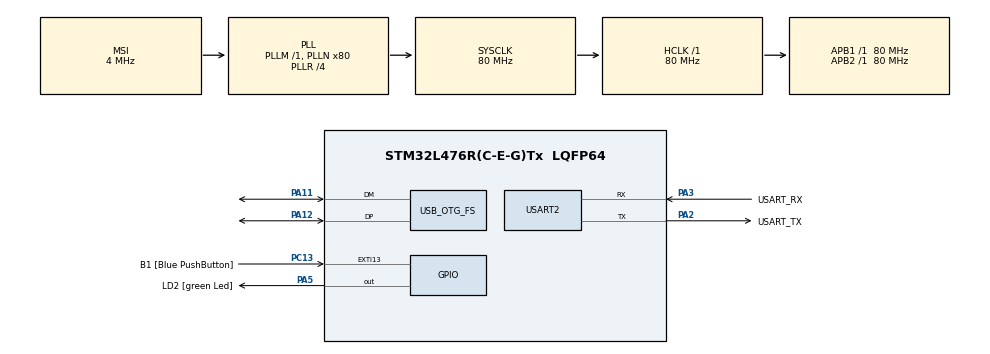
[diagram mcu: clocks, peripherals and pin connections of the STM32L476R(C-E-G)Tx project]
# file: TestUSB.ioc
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Mcu.Family=STM32L4
Mcu.Name=STM32L476R(C-E-G)Tx
Mcu.Package=LQFP64
NVIC.EXTI15_10_IRQn=true\:0\:0\:false\:false\:true\:true\:true\:true
NVIC.OTG_FS_IRQn=true\:0\:0\:false\:false\:true\:false\:true\:true
NVIC.PriorityGroup=NVIC_PRIORITYGROUP_4
PA11.Mode=Device_Only
PA11.Signal=USB_OTG_FS_DM
PA12.Mode=Device_Only
PA12.Signal=USB_OTG_FS_DP
PA13\ (JTMS-SWDIO).GPIO_Label=TMS
PA13\ (JTMS-SWDIO).Mode=Serial_Wire
PA13\ (JTMS-SWDIO).Signal=SYS_JTMS-SWDIO
PA14\ (JTCK-SWCLK).GPIO_Label=TCK
PA14\ (JTCK-SWCLK).Mode=Serial_Wire
PA14\ (JTCK-SWCLK).Signal=SYS_JTCK-SWCLK
PA2.GPIO_Label=USART_TX
PA2.GPIO_Mode=GPIO_MODE_AF_PP
PA2.GPIO_PuPd=GPIO_NOPULL
PA2.GPIO_Speed=GPIO_SPEED_FREQ_VERY_HIGH
PA2.Mode=Asynchronous
PA2.Signal=USART2_TX
PA3.GPIO_Label=USART_RX
PA3.GPIO_Mode=GPIO_MODE_AF_PP
PA3.GPIO_PuPd=GPIO_NOPULL
PA3.GPIO_Speed=GPIO_SPEED_FREQ_VERY_HIGH
PA3.Mode=Asynchronous
PA3.Signal=USART2_RX
PA5.GPIO_Label=LD2 [green Led]
PA5.GPIO_ModeDefaultOutputPP=GPIO_MODE_OUTPUT_PP
PA5.GPIO_PuPd=GPIO_NOPULL
PA5.GPIO_Speed=GPIO_SPEED_FREQ_LOW
PA5.Signal=GPIO_Output
PB3\ (JTDO-TRACESWO).GPIO_Label=SWO
PB3\ (JTDO-TRACESWO).Signal=SYS_JTDO-SWO
PC13.GPIO_Label=B1 [Blue PushButton]
PC13.GPIO_ModeDefaultEXTI=GPIO_MODE_IT_FALLING
PC13.GPIO_PuPd=GPIO_NOPULL
PC13.Signal=GPXTI13
PC14-OSC32_IN\ (PC14).Mode=LSE-External-Oscillator
PC14-OSC32_IN\ (PC14).Signal=RCC_OSC32_IN
PC15-OSC32_OUT\ (PC15).Mode=LSE-External-Oscillator
PC15-OSC32_OUT\ (PC15).Signal=RCC_OSC32_OUT
PH0-OSC_IN\ (PH0).Signal=RCC_OSC_IN
PH1-OSC_OUT\ (PH1).Signal=RCC_OSC_OUT
ProjectManager.HeapSize=0x200
ProjectManager.StackSize=0x400
ProjectManager.TargetToolchain=STM32CubeIDE
RCC.ADCFreq_Value=48000000
RCC.AHBFreq_Value=80000000
RCC.APB1Freq_Value=80000000
RCC.APB1TimFreq_Value=80000000
RCC.APB2Freq_Value=80000000
RCC.APB2TimFreq_Value=80000000
RCC.CortexFreq_Value=80000000
RCC.HCLKFreq_Value=80000000
RCC.HSE_VALUE=8000000
RCC.HSI_VALUE=16000000
RCC.MSI_VALUE=4000000
RCC.PLLN=80
RCC.PLLR=RCC_PLLR_DIV4
RCC.PLLSAI1N=24
RCC.PREFETCH_ENABLE=1
RCC.SYSCLKFreq_VALUE=80000000
RCC.SYSCLKSource=RCC_SYSCLKSOURCE_PLLCLK
RCC.USBFreq_Value=48000000
RCC.VCOOutputFreq_Value=320000000
USART2.VirtualMode-Asynchronous=VM_ASYNC
USB_DEVICE.CLASS_NAME_FS=CDC
USB_DEVICE.PRODUCT_STRING_CDC_FS=STM32 YourVitalSeeker
USB_DEVICE.VirtualMode=Cdc
USB_DEVICE.VirtualModeFS=Cdc_FS
USB_OTG_FS.VirtualMode=Device_Only
VP_USB_DEVICE_VS_USB_DEVICE_CDC_FS.Mode=CDC_FS
board=NUCLEO-L476RG

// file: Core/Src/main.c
/* USER CODE BEGIN Header */
/**
  ******************************************************************************
  * @file           : main.c
  * @brief          : Main program body
  ******************************************************************************
  * @attention
  *
  * Copyright (c) 2025 STMicroelectronics.
  * All rights reserved.
  *
  * This software is licensed under terms that can be found in the LICENSE file
  * in the root directory of this software component.
  * If no LICENSE file comes with this software, it is provided AS-IS.
  *
  ******************************************************************************
  */
/* USER CODE END Header */
#include "main.h"
#include "usb_device.h"

/* USER CODE BEGIN Includes */
#include "usbd_cdc_if.h"
#include "string.h"
#include "stdbool.h"
/* USER CODE END Includes */

UART_HandleTypeDef huart2;

void SystemClock_Config(void);
static void MX_GPIO_Init(void);
static void MX_USART2_UART_Init(void);

/* USER CODE BEGIN 0 */
uint8_t DataToSend[40]; // Tablica zawierajaca dane do wyslania
uint8_t MessageCounter = 0; // Licznik wyslanych wiadomosci
uint8_t MessageLength = 0; // Zawiera dlugosc wysylanej wiadomosci
bool 	ButtonPressed = false;
uint8_t LedState = 0;
char *data = "HELLO WORLD\n";
/* USER CODE END 0 */

int main(void)
{

  /* MCU Configuration--------------------------------------------------------*/

  /* Reset of all peripherals, Initializes the Flash interface and the Systick. */
  HAL_Init();

  /* Configure the system clock */
  SystemClock_Config();

  /* Initialize all configured peripherals */
  MX_GPIO_Init();
  MX_USART2_UART_Init();
  MX_USB_DEVICE_Init();

  /* Infinite loop */
  /* USER CODE BEGIN WHILE */
  while (1)
  {
	  CDC_Transmit_FS((uint8_t*) data, strlen(data));
	  HAL_Delay(1000);
	  if(ButtonPressed){
		  ButtonPressed = false;
		  ++MessageCounter;
		MessageLength = sprintf((char*) DataToSend, "Wiadomosc nr %d\n\r", MessageCounter);
		LedState = CDC_Transmit_FS(DataToSend, MessageLength);
		if (LedState == 1){
			HAL_GPIO_WritePin(LD2_GPIO_Port, LD2_Pin, GPIO_PIN_RESET);
		}
		else{
			HAL_GPIO_WritePin(LD2_GPIO_Port, LD2_Pin, GPIO_PIN_SET);
		}
	  }
    /* USER CODE END WHILE */

  }
}

void SystemClock_Config(void)
{
  RCC_OscInitTypeDef RCC_OscInitStruct = {0};
  RCC_ClkInitTypeDef RCC_ClkInitStruct = {0};

  /** Configure the main internal regulator output voltage
  */
  if (HAL_PWREx_ControlVoltageScaling(PWR_REGULATOR_VOLTAGE_SCALE1) != HAL_OK)
  {
    Error_Handler();
  }

  /** Configure LSE Drive Capability
  */
  HAL_PWR_EnableBkUpAccess();
  __HAL_RCC_LSEDRIVE_CONFIG(RCC_LSEDRIVE_LOW);

  /** Initializes the RCC Oscillators according to the specified parameters
  * in the RCC_OscInitTypeDef structure.
  */
  RCC_OscInitStruct.OscillatorType = RCC_OSCILLATORTYPE_LSE|RCC_OSCILLATORTYPE_MSI;
  RCC_OscInitStruct.LSEState = RCC_LSE_ON;
  RCC_OscInitStruct.MSIState = RCC_MSI_ON;
  RCC_OscInitStruct.MSICalibrationValue = 0;
  RCC_OscInitStruct.MSIClockRange = RCC_MSIRANGE_6;
  RCC_OscInitStruct.PLL.PLLState = RCC_PLL_ON;
  RCC_OscInitStruct.PLL.PLLSource = RCC_PLLSOURCE_MSI;
  RCC_OscInitStruct.PLL.PLLM = 1;
  RCC_OscInitStruct.PLL.PLLN = 80;
  RCC_OscInitStruct.PLL.PLLP = RCC_PLLP_DIV7;
  RCC_OscInitStruct.PLL.PLLQ = RCC_PLLQ_DIV2;
  RCC_OscInitStruct.PLL.PLLR = RCC_PLLR_DIV4;
  if (HAL_RCC_OscConfig(&RCC_OscInitStruct) != HAL_OK)
  {
    Error_Handler();
  }

  /** Initializes the CPU, AHB and APB buses clocks
  */
  RCC_ClkInitStruct.ClockType = RCC_CLOCKTYPE_HCLK|RCC_CLOCKTYPE_SYSCLK
                              |RCC_CLOCKTYPE_PCLK1|RCC_CLOCKTYPE_PCLK2;
  RCC_ClkInitStruct.SYSCLKSource = RCC_SYSCLKSOURCE_PLLCLK;
  RCC_ClkInitStruct.AHBCLKDivider = RCC_SYSCLK_DIV1;
  RCC_ClkInitStruct.APB1CLKDivider = RCC_HCLK_DIV1;
  RCC_ClkInitStruct.APB2CLKDivider = RCC_HCLK_DIV1;

  if (HAL_RCC_ClockConfig(&RCC_ClkInitStruct, FLASH_LATENCY_4) != HAL_OK)
  {
    Error_Handler();
  }

  /** Enable MSI Auto calibration
  */
  HAL_RCCEx_EnableMSIPLLMode();
}

static void MX_USART2_UART_Init(void)
{

  huart2.Instance = USART2;
  huart2.Init.BaudRate = 115200;
  huart2.Init.WordLength = UART_WORDLENGTH_8B;
  huart2.Init.StopBits = UART_STOPBITS_1;
  huart2.Init.Parity = UART_PARITY_NONE;
  huart2.Init.Mode = UART_MODE_TX_RX;
  huart2.Init.HwFlowCtl = UART_HWCONTROL_NONE;
  huart2.Init.OverSampling = UART_OVERSAMPLING_16;
  huart2.Init.OneBitSampling = UART_ONE_BIT_SAMPLE_DISABLE;
  huart2.AdvancedInit.AdvFeatureInit = UART_ADVFEATURE_NO_INIT;
  if (HAL_UART_Init(&huart2) != HAL_OK)
  {
    Error_Handler();
  }

}

static void MX_GPIO_Init(void)
{
  GPIO_InitTypeDef GPIO_InitStruct = {0};

  /* GPIO Ports Clock Enable */
  __HAL_RCC_GPIOC_CLK_ENABLE();
  __HAL_RCC_GPIOH_CLK_ENABLE();
  __HAL_RCC_GPIOA_CLK_ENABLE();
  __HAL_RCC_GPIOB_CLK_ENABLE();

  /*Configure GPIO pin Output Level */
  HAL_GPIO_WritePin(LD2_GPIO_Port, LD2_Pin, GPIO_PIN_RESET);

  /*Configure GPIO pin : B1_Pin */
  GPIO_InitStruct.Pin = B1_Pin;
  GPIO_InitStruct.Mode = GPIO_MODE_IT_FALLING;
  GPIO_InitStruct.Pull = GPIO_NOPULL;
  HAL_GPIO_Init(B1_GPIO_Port, &GPIO_InitStruct);

  /*Configure GPIO pin : LD2_Pin */
  GPIO_InitStruct.Pin = LD2_Pin;
  GPIO_InitStruct.Mode = GPIO_MODE_OUTPUT_PP;
  GPIO_InitStruct.Pull = GPIO_NOPULL;
  GPIO_InitStruct.Speed = GPIO_SPEED_FREQ_LOW;
  HAL_GPIO_Init(LD2_GPIO_Port, &GPIO_InitStruct);

  /* EXTI interrupt init*/
  HAL_NVIC_SetPriority(EXTI15_10_IRQn, 0, 0);
  HAL_NVIC_EnableIRQ(EXTI15_10_IRQn);

}

/* USER CODE BEGIN 4 */
void HAL_GPIO_EXTI_Callback(uint16_t GPIO_Pin){
	if (GPIO_Pin == B1_Pin){
		ButtonPressed = true;
	}
}
/* USER CODE END 4 */

void Error_Handler(void)
{
  __disable_irq();
  while (1)
  {
  }
}
